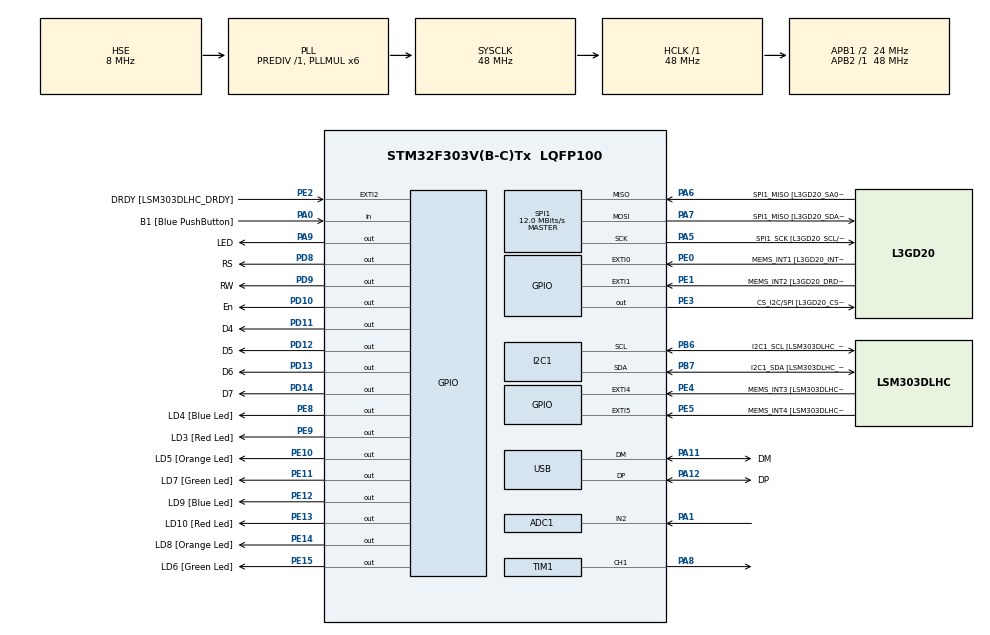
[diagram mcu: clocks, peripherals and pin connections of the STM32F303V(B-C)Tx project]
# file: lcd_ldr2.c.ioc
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ADC1.Channel-0\#ChannelRegularConversion=ADC_CHANNEL_2
ADC1.ClockPrescaler=ADC_CLOCK_SYNC_PCLK_DIV2
ADC1.NbrOfConversionFlag=1
ADC1.Offset-0\#ChannelRegularConversion=0
ADC1.OffsetNumber-0\#ChannelRegularConversion=ADC_OFFSET_NONE
ADC1.Rank-0\#ChannelRegularConversion=1
ADC1.SamplingTime-0\#ChannelRegularConversion=ADC_SAMPLETIME_4CYCLES_5
ADC1.SamplingTimeOPAMP-0\#ChannelRegularConversion=ADC_SAMPLETIME_19CYCLES_5
ADC1.master=1
I2C1.Timing=0x00201D2B
I2C1.Timing-I2C=0x2000090E
Mcu.Family=STM32F3
Mcu.Name=STM32F303V(B-C)Tx
Mcu.Package=LQFP100
NVIC.PriorityGroup=NVIC_PRIORITYGROUP_0
NVIC.TIM3_IRQn=true\:0\:0\:false\:false\:true\:true\:true\:true
PA0.GPIO_Label=B1 [Blue PushButton]
PA0.Signal=GPIO_Input
PA1.Mode=IN2-Single-Ended
PA1.Signal=ADC1_IN2
PA11.GPIO_Label=DM
PA11.Mode=Device
PA11.Signal=USB_DM
PA12.GPIO_Label=DP
PA12.Mode=Device
PA12.Signal=USB_DP
PA13.GPIO_Label=SWDIO
PA13.Mode=Serial_Wire
PA13.Signal=SYS_JTMS-SWDIO
PA14.GPIO_Label=SWCLK
PA14.Mode=Serial_Wire
PA14.Signal=SYS_JTCK-SWCLK
PA5.GPIO_Label=SPI1_SCK [L3GD20_SCL/SPC]
PA5.Mode=Full_Duplex_Master
PA5.Signal=SPI1_SCK
PA6.GPIO_Label=SPI1_MISO [L3GD20_SA0/SDO]
PA6.Mode=Full_Duplex_Master
PA6.Signal=SPI1_MISO
PA7.GPIO_Label=SPI1_MISO [L3GD20_SDA/SDI/SDO]
PA7.Mode=Full_Duplex_Master
PA7.Signal=SPI1_MOSI
PA8.Signal=S_TIM1_CH1
PA9.GPIO_Label=LED
PA9.Signal=GPIO_Output
PB3.GPIO_Label=SWO
PB3.Signal=SYS_JTDO-TRACESWO
PB6.GPIO_Label=I2C1_SCL [LSM303DLHC_SCL]
PB6.GPIO_Pu=GPIO_PULLUP
PB6.Mode=I2C
PB6.Signal=I2C1_SCL
PB7.GPIO_Label=I2C1_SDA [LSM303DLHC_SDA]
PB7.GPIO_Pu=GPIO_PULLUP
PB7.Mode=I2C
PB7.Signal=I2C1_SDA
PC14-OSC32_IN.GPIO_Label=OSC32_IN
PC14-OSC32_IN.Signal=RCC_OSC32_IN
PC15-OSC32_OUT.GPIO_Label=OSC32_OUT
PC15-OSC32_OUT.Signal=RCC_OSC32_OUT
PD10.GPIO_Label=En
PD10.Signal=GPIO_Output
PD11.GPIO_Label=D4
PD11.Signal=GPIO_Output
PD12.GPIO_Label=D5
PD12.Signal=GPIO_Output
PD13.GPIO_Label=D6
PD13.Signal=GPIO_Output
PD14.GPIO_Label=D7
PD14.Signal=GPIO_Output
PD8.GPIO_Label=RS
PD8.Signal=GPIO_Output
PD9.GPIO_Label=RW
PD9.Signal=GPIO_Output
PE0.GPIO_Label=MEMS_INT1 [L3GD20_INT1]
PE0.GPIO_ModeDefaultEXTI=GPIO_MODE_EVT_RISING
PE0.Signal=GPXTI0
PE1.GPIO_Label=MEMS_INT2 [L3GD20_DRDY/INT2]
PE1.GPIO_ModeDefaultEXTI=GPIO_MODE_EVT_RISING
PE1.Signal=GPXTI1
PE10.GPIO_Label=LD5 [Orange Led]
PE10.Signal=GPIO_Output
PE11.GPIO_Label=LD7 [Green Led]
PE11.Signal=GPIO_Output
PE12.GPIO_Label=LD9 [Blue Led]
PE12.Signal=GPIO_Output
PE13.GPIO_Label=LD10 [Red Led]
PE13.Signal=GPIO_Output
PE14.GPIO_Label=LD8 [Orange Led]
PE14.Signal=GPIO_Output
PE15.GPIO_Label=LD6 [Green Led]
PE15.Signal=GPIO_Output
PE2.GPIO_Label=DRDY [LSM303DLHC_DRDY]
PE2.GPIO_ModeDefaultEXTI=GPIO_MODE_EVT_RISING
PE2.Signal=GPXTI2
PE3.GPIO_Label=CS_I2C/SPI [L3GD20_CS_I2C/SPI]
PE3.Signal=GPIO_Output
PE4.GPIO_Label=MEMS_INT3 [LSM303DLHC_INT1]
PE4.GPIO_ModeDefaultEXTI=GPIO_MODE_EVT_RISING
PE4.Signal=GPXTI4
PE5.GPIO_Label=MEMS_INT4 [LSM303DLHC_INT2]
PE5.GPIO_ModeDefaultEXTI=GPIO_MODE_EVT_RISING
PE5.Signal=GPXTI5
PE8.GPIO_Label=LD4 [Blue Led]
PE8.Signal=GPIO_Output
PE9.GPIO_Label=LD3 [Red Led]
PE9.Signal=GPIO_Output
PF0-OSC_IN.GPIO_Label=OSC_IN
PF0-OSC_IN.Mode=HSE-External-Oscillator
PF0-OSC_IN.Signal=RCC_OSC_IN
PF1-OSC_OUT.GPIO_Label=OSC_OUT
PF1-OSC_OUT.Mode=HSE-External-Oscillator
PF1-OSC_OUT.Signal=RCC_OSC_OUT
ProjectManager.HeapSize=0x200
ProjectManager.StackSize=0x400
ProjectManager.TargetToolchain=STM32CubeIDE
RCC.AHBFreq_Value=48000000
RCC.APB1CLKDivider=RCC_HCLK_DIV2
RCC.APB1Freq_Value=24000000
RCC.APB1TimFreq_Value=48000000
RCC.APB2Freq_Value=48000000
RCC.APB2TimFreq_Value=48000000
RCC.CortexFreq_Value=48000000
RCC.HCLKFreq_Value=48000000
RCC.HSE_VALUE=8000000
RCC.HSI_VALUE=8000000
RCC.LSE_VALUE=32768
RCC.PLLMUL=RCC_PLL_MUL6
RCC.SYSCLKFreq_VALUE=48000000
RCC.SYSCLKSourceVirtual=RCC_SYSCLKSOURCE_PLLCLK
RCC.USBFreq_Value=48000000
SH.S_TIM1_CH1.0=TIM1_CH1,PWM Generation1 CH1
SPI1.BaudRatePrescaler=SPI_BAUDRATEPRESCALER_4
SPI1.BaudRatePrescaler-Full_Duplex_Master=SPI_BAUDRATEPRESCALER_2
SPI1.CalculateBaudRate=12.0 MBits/s
SPI1.CalculateBaudRate-Full_Duplex_Master=24.0 MBits/s
SPI1.Direction=SPI_DIRECTION_2LINES
SPI1.Mode=SPI_MODE_MASTER
SPI1.Mode-Full_Duplex_Master=SPI_MODE_MASTER
SPI1.VirtualType=VM_MASTER
TIM1.Channel-PWM\ Generation1\ CH1=TIM_CHANNEL_1
TIM1.Period=100-1
TIM1.Prescaler=48000-1
VP_TIM2_VS_ClockSourceINT.Mode=Internal
VP_TIM3_VS_ClockSourceINT.Mode=Internal
board=STM32F3DISCOVERY

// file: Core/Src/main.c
/* USER CODE BEGIN Header */
/**
  ******************************************************************************
  * @file           : main.c
  * @brief          : Main program body
  ******************************************************************************
  * @attention
  *
  * Copyright (c) 2025 STMicroelectronics.
  * All rights reserved.
  *
  * This software is licensed under terms that can be found in the LICENSE file
  * in the root directory of this software component.
  * If no LICENSE file comes with this software, it is provided AS-IS.
  *
  ******************************************************************************
  */
/* USER CODE END Header */
#include "main.h"

/* USER CODE BEGIN Includes */

#include "stdio.h"

#include "lcd.h"
#include "stm32f3xx_hal.h"
/* USER CODE END Includes */

ADC_HandleTypeDef hadc1;

I2C_HandleTypeDef hi2c1;

SPI_HandleTypeDef hspi1;

TIM_HandleTypeDef htim1;
TIM_HandleTypeDef htim2;
TIM_HandleTypeDef htim3;

PCD_HandleTypeDef hpcd_USB_FS;

/* USER CODE BEGIN PV */
	uint16_t RawValue[2];		//store ADC Raw numbers
	uint16_t ADC_Voltage[2];	//store ADC values converted to voltage
	uint16_t temprature;		//lm35 value in °C
	uint16_t LDR;				//LDR value

	uint8_t flag1sec = 0;		//flag for 1 second elapse

	char buffer[16];			//buffer for sending to LCD
/* USER CODE END PV */

void SystemClock_Config(void);
static void MX_GPIO_Init(void);
static void MX_I2C1_Init(void);
static void MX_SPI1_Init(void);
static void MX_USB_PCD_Init(void);
static void MX_ADC1_Init(void);
static void MX_TIM1_Init(void);
static void MX_TIM2_Init(void);
static void MX_TIM3_Init(void);

int main(void)
{

  /* MCU Configuration--------------------------------------------------------*/

  /* Reset of all peripherals, Initializes the Flash interface and the Systick. */
  HAL_Init();

  /* Configure the system clock */
  SystemClock_Config();

  /* Initialize all configured peripherals */
  MX_GPIO_Init();
  MX_I2C1_Init();
  MX_SPI1_Init();
  MX_USB_PCD_Init();
  MX_ADC1_Init();
  MX_TIM1_Init();
  MX_TIM2_Init();
  MX_TIM3_Init();
  /* USER CODE BEGIN 2 */

  // Initialize the LCD
  LCD_Init();  // Ensure this is defined in LCD driver

  // Clear the LCD display before showing a new message
  LCD_Clear(); // Function to clear the LCD display

  // Start ADC conversion
  HAL_ADC_Start(&hadc1);

  // Optionally, add a delay to allow the ADC to stabilize
  HAL_Delay(10);

  // Read ADC value
  uint32_t ldrValue = HAL_ADC_GetValue(&hadc1);

  // Check if LDR value is above threshold to indicate light
  if (ldrValue > 500) { // Adjust threshold based on LDR response
	  LCD_SendString("Place crystal on sword!");
  } else {
	  LCD_SendString("No light detected");
  }

  // Add delay so message stays for a while
  HAL_Delay(1000);  // Delay of 1 second
  /* USER CODE END 2 */

  /* Infinite loop */
  /* USER CODE BEGIN WHILE */
  while (1)
  {
	  // Optionally, add a delay bc we want the message to stay for a while
	  HAL_Delay(1000); // 1-second delay

    /* USER CODE END WHILE */

  }
}

void SystemClock_Config(void)
{
  RCC_OscInitTypeDef RCC_OscInitStruct = {0};
  RCC_ClkInitTypeDef RCC_ClkInitStruct = {0};
  RCC_PeriphCLKInitTypeDef PeriphClkInit = {0};

  /** Initializes the RCC Oscillators according to the specified parameters
  * in the RCC_OscInitTypeDef structure.
  */
  RCC_OscInitStruct.OscillatorType = RCC_OSCILLATORTYPE_HSI|RCC_OSCILLATORTYPE_HSE;
  RCC_OscInitStruct.HSEState = RCC_HSE_ON;
  RCC_OscInitStruct.HSEPredivValue = RCC_HSE_PREDIV_DIV1;
  RCC_OscInitStruct.HSIState = RCC_HSI_ON;
  RCC_OscInitStruct.HSICalibrationValue = RCC_HSICALIBRATION_DEFAULT;
  RCC_OscInitStruct.PLL.PLLState = RCC_PLL_ON;
  RCC_OscInitStruct.PLL.PLLSource = RCC_PLLSOURCE_HSE;
  RCC_OscInitStruct.PLL.PLLMUL = RCC_PLL_MUL6;
  if (HAL_RCC_OscConfig(&RCC_OscInitStruct) != HAL_OK)
  {
    Error_Handler();
  }

  /** Initializes the CPU, AHB and APB buses clocks
  */
  RCC_ClkInitStruct.ClockType = RCC_CLOCKTYPE_HCLK|RCC_CLOCKTYPE_SYSCLK
                              |RCC_CLOCKTYPE_PCLK1|RCC_CLOCKTYPE_PCLK2;
  RCC_ClkInitStruct.SYSCLKSource = RCC_SYSCLKSOURCE_PLLCLK;
  RCC_ClkInitStruct.AHBCLKDivider = RCC_SYSCLK_DIV1;
  RCC_ClkInitStruct.APB1CLKDivider = RCC_HCLK_DIV2;
  RCC_ClkInitStruct.APB2CLKDivider = RCC_HCLK_DIV1;

  if (HAL_RCC_ClockConfig(&RCC_ClkInitStruct, FLASH_LATENCY_1) != HAL_OK)
  {
    Error_Handler();
  }
  PeriphClkInit.PeriphClockSelection = RCC_PERIPHCLK_USB|RCC_PERIPHCLK_I2C1
                              |RCC_PERIPHCLK_TIM1;
  PeriphClkInit.I2c1ClockSelection = RCC_I2C1CLKSOURCE_HSI;
  PeriphClkInit.USBClockSelection = RCC_USBCLKSOURCE_PLL;
  PeriphClkInit.Tim1ClockSelection = RCC_TIM1CLK_HCLK;
  if (HAL_RCCEx_PeriphCLKConfig(&PeriphClkInit) != HAL_OK)
  {
    Error_Handler();
  }
}

static void MX_ADC1_Init(void)
{

  ADC_MultiModeTypeDef multimode = {0};
  ADC_ChannelConfTypeDef sConfig = {0};

  /** Common config
  */
  hadc1.Instance = ADC1;
  hadc1.Init.ClockPrescaler = ADC_CLOCK_SYNC_PCLK_DIV2;
  hadc1.Init.Resolution = ADC_RESOLUTION_12B;
  hadc1.Init.ScanConvMode = ADC_SCAN_DISABLE;
  hadc1.Init.ContinuousConvMode = DISABLE;
  hadc1.Init.DiscontinuousConvMode = DISABLE;
  hadc1.Init.ExternalTrigConvEdge = ADC_EXTERNALTRIGCONVEDGE_NONE;
  hadc1.Init.ExternalTrigConv = ADC_SOFTWARE_START;
  hadc1.Init.DataAlign = ADC_DATAALIGN_RIGHT;
  hadc1.Init.NbrOfConversion = 1;
  hadc1.Init.DMAContinuousRequests = DISABLE;
  hadc1.Init.EOCSelection = ADC_EOC_SINGLE_CONV;
  hadc1.Init.LowPowerAutoWait = DISABLE;
  hadc1.Init.Overrun = ADC_OVR_DATA_OVERWRITTEN;
  if (HAL_ADC_Init(&hadc1) != HAL_OK)
  {
    Error_Handler();
  }

  /** Configure the ADC multi-mode
  */
  multimode.Mode = ADC_MODE_INDEPENDENT;
  if (HAL_ADCEx_MultiModeConfigChannel(&hadc1, &multimode) != HAL_OK)
  {
    Error_Handler();
  }

  /** Configure Regular Channel
  */
  sConfig.Channel = ADC_CHANNEL_2;
  sConfig.Rank = ADC_REGULAR_RANK_1;
  sConfig.SingleDiff = ADC_SINGLE_ENDED;
  sConfig.SamplingTime = ADC_SAMPLETIME_4CYCLES_5;
  sConfig.OffsetNumber = ADC_OFFSET_NONE;
  sConfig.Offset = 0;
  if (HAL_ADC_ConfigChannel(&hadc1, &sConfig) != HAL_OK)
  {
    Error_Handler();
  }

}

static void MX_I2C1_Init(void)
{

  hi2c1.Instance = I2C1;
  hi2c1.Init.Timing = 0x00201D2B;
  hi2c1.Init.OwnAddress1 = 0;
  hi2c1.Init.AddressingMode = I2C_ADDRESSINGMODE_7BIT;
  hi2c1.Init.DualAddressMode = I2C_DUALADDRESS_DISABLE;
  hi2c1.Init.OwnAddress2 = 0;
  hi2c1.Init.OwnAddress2Masks = I2C_OA2_NOMASK;
  hi2c1.Init.GeneralCallMode = I2C_GENERALCALL_DISABLE;
  hi2c1.Init.NoStretchMode = I2C_NOSTRETCH_DISABLE;
  if (HAL_I2C_Init(&hi2c1) != HAL_OK)
  {
    Error_Handler();
  }

  /** Configure Analogue filter
  */
  if (HAL_I2CEx_ConfigAnalogFilter(&hi2c1, I2C_ANALOGFILTER_ENABLE) != HAL_OK)
  {
    Error_Handler();
  }

  /** Configure Digital filter
  */
  if (HAL_I2CEx_ConfigDigitalFilter(&hi2c1, 0) != HAL_OK)
  {
    Error_Handler();
  }

}

static void MX_SPI1_Init(void)
{

  /* SPI1 parameter configuration*/
  hspi1.Instance = SPI1;
  hspi1.Init.Mode = SPI_MODE_MASTER;
  hspi1.Init.Direction = SPI_DIRECTION_2LINES;
  hspi1.Init.DataSize = SPI_DATASIZE_4BIT;
  hspi1.Init.CLKPolarity = SPI_POLARITY_LOW;
  hspi1.Init.CLKPhase = SPI_PHASE_1EDGE;
  hspi1.Init.NSS = SPI_NSS_SOFT;
  hspi1.Init.BaudRatePrescaler = SPI_BAUDRATEPRESCALER_4;
  hspi1.Init.FirstBit = SPI_FIRSTBIT_MSB;
  hspi1.Init.TIMode = SPI_TIMODE_DISABLE;
  hspi1.Init.CRCCalculation = SPI_CRCCALCULATION_DISABLE;
  hspi1.Init.CRCPolynomial = 7;
  hspi1.Init.CRCLength = SPI_CRC_LENGTH_DATASIZE;
  hspi1.Init.NSSPMode = SPI_NSS_PULSE_ENABLE;
  if (HAL_SPI_Init(&hspi1) != HAL_OK)
  {
    Error_Handler();
  }

}

static void MX_TIM1_Init(void)
{

  TIM_MasterConfigTypeDef sMasterConfig = {0};
  TIM_OC_InitTypeDef sConfigOC = {0};
  TIM_BreakDeadTimeConfigTypeDef sBreakDeadTimeConfig = {0};

  htim1.Instance = TIM1;
  htim1.Init.Prescaler = 48000-1;
  htim1.Init.CounterMode = TIM_COUNTERMODE_UP;
  htim1.Init.Period = 100-1;
  htim1.Init.ClockDivision = TIM_CLOCKDIVISION_DIV1;
  htim1.Init.RepetitionCounter = 0;
  htim1.Init.AutoReloadPreload = TIM_AUTORELOAD_PRELOAD_DISABLE;
  if (HAL_TIM_PWM_Init(&htim1) != HAL_OK)
  {
    Error_Handler();
  }
  sMasterConfig.MasterOutputTrigger = TIM_TRGO_RESET;
  sMasterConfig.MasterOutputTrigger2 = TIM_TRGO2_RESET;
  sMasterConfig.MasterSlaveMode = TIM_MASTERSLAVEMODE_DISABLE;
  if (HAL_TIMEx_MasterConfigSynchronization(&htim1, &sMasterConfig) != HAL_OK)
  {
    Error_Handler();
  }
  sConfigOC.OCMode = TIM_OCMODE_PWM1;
  sConfigOC.Pulse = 0;
  sConfigOC.OCPolarity = TIM_OCPOLARITY_HIGH;
  sConfigOC.OCNPolarity = TIM_OCNPOLARITY_HIGH;
  sConfigOC.OCFastMode = TIM_OCFAST_DISABLE;
  sConfigOC.OCIdleState = TIM_OCIDLESTATE_RESET;
  sConfigOC.OCNIdleState = TIM_OCNIDLESTATE_RESET;
  if (HAL_TIM_PWM_ConfigChannel(&htim1, &sConfigOC, TIM_CHANNEL_1) != HAL_OK)
  {
    Error_Handler();
  }
  sBreakDeadTimeConfig.OffStateRunMode = TIM_OSSR_DISABLE;
  sBreakDeadTimeConfig.OffStateIDLEMode = TIM_OSSI_DISABLE;
  sBreakDeadTimeConfig.LockLevel = TIM_LOCKLEVEL_OFF;
  sBreakDeadTimeConfig.DeadTime = 0;
  sBreakDeadTimeConfig.BreakState = TIM_BREAK_DISABLE;
  sBreakDeadTimeConfig.BreakPolarity = TIM_BREAKPOLARITY_HIGH;
  sBreakDeadTimeConfig.BreakFilter = 0;
  sBreakDeadTimeConfig.Break2State = TIM_BREAK2_DISABLE;
  sBreakDeadTimeConfig.Break2Polarity = TIM_BREAK2POLARITY_HIGH;
  sBreakDeadTimeConfig.Break2Filter = 0;
  sBreakDeadTimeConfig.AutomaticOutput = TIM_AUTOMATICOUTPUT_DISABLE;
  if (HAL_TIMEx_ConfigBreakDeadTime(&htim1, &sBreakDeadTimeConfig) != HAL_OK)
  {
    Error_Handler();
  }
  HAL_TIM_MspPostInit(&htim1);

}

static void MX_TIM2_Init(void)
{

  TIM_ClockConfigTypeDef sClockSourceConfig = {0};
  TIM_MasterConfigTypeDef sMasterConfig = {0};

  htim2.Instance = TIM2;
  htim2.Init.Prescaler = 0;
  htim2.Init.CounterMode = TIM_COUNTERMODE_UP;
  htim2.Init.Period = 4294967295;
  htim2.Init.ClockDivision = TIM_CLOCKDIVISION_DIV1;
  htim2.Init.AutoReloadPreload = TIM_AUTORELOAD_PRELOAD_DISABLE;
  if (HAL_TIM_Base_Init(&htim2) != HAL_OK)
  {
    Error_Handler();
  }
  sClockSourceConfig.ClockSource = TIM_CLOCKSOURCE_INTERNAL;
  if (HAL_TIM_ConfigClockSource(&htim2, &sClockSourceConfig) != HAL_OK)
  {
    Error_Handler();
  }
  sMasterConfig.MasterOutputTrigger = TIM_TRGO_RESET;
  sMasterConfig.MasterSlaveMode = TIM_MASTERSLAVEMODE_DISABLE;
  if (HAL_TIMEx_MasterConfigSynchronization(&htim2, &sMasterConfig) != HAL_OK)
  {
    Error_Handler();
  }

}

static void MX_TIM3_Init(void)
{

  TIM_ClockConfigTypeDef sClockSourceConfig = {0};
  TIM_MasterConfigTypeDef sMasterConfig = {0};

  htim3.Instance = TIM3;
  htim3.Init.Prescaler = 0;
  htim3.Init.CounterMode = TIM_COUNTERMODE_UP;
  htim3.Init.Period = 65535;
  htim3.Init.ClockDivision = TIM_CLOCKDIVISION_DIV1;
  htim3.Init.AutoReloadPreload = TIM_AUTORELOAD_PRELOAD_DISABLE;
  if (HAL_TIM_Base_Init(&htim3) != HAL_OK)
  {
    Error_Handler();
  }
  sClockSourceConfig.ClockSource = TIM_CLOCKSOURCE_INTERNAL;
  if (HAL_TIM_ConfigClockSource(&htim3, &sClockSourceConfig) != HAL_OK)
  {
    Error_Handler();
  }
  sMasterConfig.MasterOutputTrigger = TIM_TRGO_RESET;
  sMasterConfig.MasterSlaveMode = TIM_MASTERSLAVEMODE_DISABLE;
  if (HAL_TIMEx_MasterConfigSynchronization(&htim3, &sMasterConfig) != HAL_OK)
  {
    Error_Handler();
  }

}

static void MX_USB_PCD_Init(void)
{

  hpcd_USB_FS.Instance = USB;
  hpcd_USB_FS.Init.dev_endpoints = 8;
  hpcd_USB_FS.Init.speed = PCD_SPEED_FULL;
  hpcd_USB_FS.Init.phy_itface = PCD_PHY_EMBEDDED;
  hpcd_USB_FS.Init.low_power_enable = DISABLE;
  hpcd_USB_FS.Init.battery_charging_enable = DISABLE;
  if (HAL_PCD_Init(&hpcd_USB_FS) != HAL_OK)
  {
    Error_Handler();
  }

}

static void MX_GPIO_Init(void)
{
  GPIO_InitTypeDef GPIO_InitStruct = {0};

  /* GPIO Ports Clock Enable */
  __HAL_RCC_GPIOE_CLK_ENABLE();
  __HAL_RCC_GPIOC_CLK_ENABLE();
  __HAL_RCC_GPIOF_CLK_ENABLE();
  __HAL_RCC_GPIOA_CLK_ENABLE();
  __HAL_RCC_GPIOD_CLK_ENABLE();
  __HAL_RCC_GPIOB_CLK_ENABLE();

  /*Configure GPIO pin Output Level */
  HAL_GPIO_WritePin(GPIOE, CS_I2C_SPI_Pin|LD4_Pin|LD3_Pin|LD5_Pin
                          |LD7_Pin|LD9_Pin|LD10_Pin|LD8_Pin
                          |LD6_Pin, GPIO_PIN_RESET);

  /*Configure GPIO pin Output Level */
  HAL_GPIO_WritePin(GPIOD, RS_Pin|RW_Pin|En_Pin|D4_Pin
                          |D5_Pin|D6_Pin|D7_Pin, GPIO_PIN_RESET);

  /*Configure GPIO pin Output Level */
  HAL_GPIO_WritePin(LED_GPIO_Port, LED_Pin, GPIO_PIN_RESET);

  /*Configure GPIO pins : DRDY_Pin MEMS_INT3_Pin MEMS_INT4_Pin MEMS_INT1_Pin
                           MEMS_INT2_Pin */
  GPIO_InitStruct.Pin = DRDY_Pin|MEMS_INT3_Pin|MEMS_INT4_Pin|MEMS_INT1_Pin
                          |MEMS_INT2_Pin;
  GPIO_InitStruct.Mode = GPIO_MODE_EVT_RISING;
  GPIO_InitStruct.Pull = GPIO_NOPULL;
  HAL_GPIO_Init(GPIOE, &GPIO_InitStruct);

  /*Configure GPIO pins : CS_I2C_SPI_Pin LD4_Pin LD3_Pin LD5_Pin
                           LD7_Pin LD9_Pin LD10_Pin LD8_Pin
                           LD6_Pin */
  GPIO_InitStruct.Pin = CS_I2C_SPI_Pin|LD4_Pin|LD3_Pin|LD5_Pin
                          |LD7_Pin|LD9_Pin|LD10_Pin|LD8_Pin
                          |LD6_Pin;
  GPIO_InitStruct.Mode = GPIO_MODE_OUTPUT_PP;
  GPIO_InitStruct.Pull = GPIO_NOPULL;
  GPIO_InitStruct.Speed = GPIO_SPEED_FREQ_LOW;
  HAL_GPIO_Init(GPIOE, &GPIO_InitStruct);

  /*Configure GPIO pin : B1_Pin */
  GPIO_InitStruct.Pin = B1_Pin;
  GPIO_InitStruct.Mode = GPIO_MODE_INPUT;
  GPIO_InitStruct.Pull = GPIO_NOPULL;
  HAL_GPIO_Init(B1_GPIO_Port, &GPIO_InitStruct);

  /*Configure GPIO pins : RS_Pin RW_Pin En_Pin D4_Pin
                           D5_Pin D6_Pin D7_Pin */
  GPIO_InitStruct.Pin = RS_Pin|RW_Pin|En_Pin|D4_Pin
                          |D5_Pin|D6_Pin|D7_Pin;
  GPIO_InitStruct.Mode = GPIO_MODE_OUTPUT_PP;
  GPIO_InitStruct.Pull = GPIO_NOPULL;
  GPIO_InitStruct.Speed = GPIO_SPEED_FREQ_LOW;
  HAL_GPIO_Init(GPIOD, &GPIO_InitStruct);

  /*Configure GPIO pin : LED_Pin */
  GPIO_InitStruct.Pin = LED_Pin;
  GPIO_InitStruct.Mode = GPIO_MODE_OUTPUT_PP;
  GPIO_InitStruct.Pull = GPIO_NOPULL;
  GPIO_InitStruct.Speed = GPIO_SPEED_FREQ_LOW;
  HAL_GPIO_Init(LED_GPIO_Port, &GPIO_InitStruct);

}

void Error_Handler(void)
{
  __disable_irq();
  while (1)
  {
  }
}
